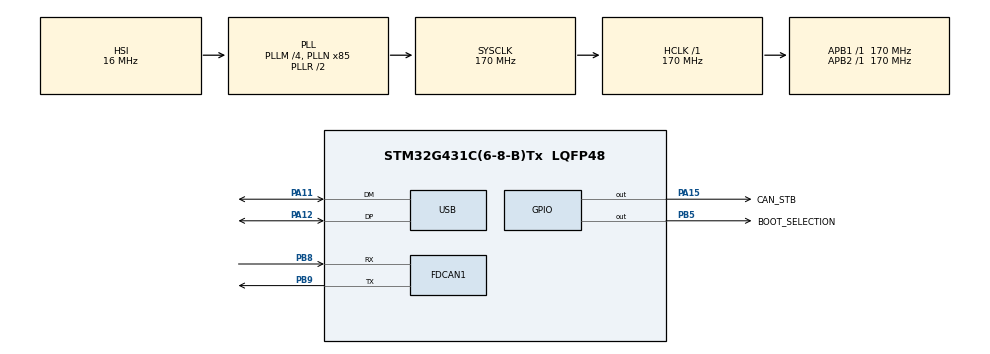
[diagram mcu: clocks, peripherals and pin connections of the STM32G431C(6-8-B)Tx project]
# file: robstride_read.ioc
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FDCAN1.AutoRetransmission=ENABLE
FDCAN1.CalculateBaudRateNominal=999999
FDCAN1.CalculateTimeBitNominal=1000
FDCAN1.CalculateTimeQuantumNominal=5.882352941176471
FDCAN1.NominalPrescaler=1
FDCAN1.NominalSyncJumpWidth=34
FDCAN1.NominalTimeSeg1=135
FDCAN1.NominalTimeSeg2=34
Mcu.Family=STM32G4
Mcu.Name=STM32G431C(6-8-B)Tx
Mcu.Package=LQFP48
NVIC.PriorityGroup=NVIC_PRIORITYGROUP_4
NVIC.USB_LP_IRQn=true\:0\:0\:false\:false\:true\:false\:true\:true
PA11.Mode=Device
PA11.Signal=USB_DM
PA12.Mode=Device
PA12.Signal=USB_DP
PA13.Mode=Serial_Wire
PA13.Signal=SYS_JTMS-SWDIO
PA14.Mode=Serial_Wire
PA14.Signal=SYS_JTCK-SWCLK
PA15.GPIO_Label=CAN_STB
PA15.Signal=GPIO_Output
PB5.GPIO_Label=BOOT_SELECTION
PB5.Signal=GPIO_Output
PB8-BOOT0.Mode=FDCAN_Activate
PB8-BOOT0.Signal=FDCAN1_RX
PB9.Mode=FDCAN_Activate
PB9.Signal=FDCAN1_TX
ProjectManager.HeapSize=0x200
ProjectManager.StackSize=0x400
ProjectManager.TargetToolchain=STM32CubeIDE
RCC.ADC12Freq_Value=170000000
RCC.AHBFreq_Value=170000000
RCC.APB1Freq_Value=170000000
RCC.APB1TimFreq_Value=170000000
RCC.APB2Freq_Value=170000000
RCC.APB2TimFreq_Value=170000000
RCC.CK48CLockSelection=RCC_USBCLKSOURCE_HSI48
RCC.CortexFreq_Value=170000000
RCC.EXTERNAL_CLOCK_VALUE=12288000
RCC.HCLKFreq_Value=170000000
RCC.HSE_VALUE=8000000
RCC.HSI48_VALUE=48000000
RCC.HSI_VALUE=16000000
RCC.LSE_VALUE=32768
RCC.PLLM=RCC_PLLM_DIV4
RCC.PLLN=85
RCC.SYSCLKFreq_VALUE=170000000
RCC.SYSCLKSource=RCC_SYSCLKSOURCE_PLLCLK
RCC.USBFreq_Value=48000000
RCC.VCOOutputFreq_Value=340000000
USB_DEVICE.CLASS_NAME_FS=CDC
USB_DEVICE.VirtualMode=Cdc
USB_DEVICE.VirtualModeFS=Cdc_FS
VP_RCC_VS_USB.Mode=USB_FS
VP_SYS_VS_DBSignals.Mode=DisableDeadBatterySignals
VP_USB_DEVICE_VS_USB_DEVICE_CDC_FS.Mode=CDC_FS
board=custom

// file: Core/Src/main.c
/* USER CODE BEGIN Header */
/**
  ******************************************************************************
  * @file           : main.c
  * @brief          : Main program body
  ******************************************************************************
  * @attention
  *
  * Copyright (c) 2026 STMicroelectronics.
  * All rights reserved.
  *
  * This software is licensed under terms that can be found in the LICENSE file
  * in the root directory of this software component.
  * If no LICENSE file comes with this software, it is provided AS-IS.
  *
  ******************************************************************************
  */
/* USER CODE END Header */
#include "main.h"
#include "usb_device.h"

/* USER CODE BEGIN Includes */
#include <stdio.h>
#include <stdlib.h>
#include "usbd_cdc_if.h"
#include "robstride.h"
/* USER CODE END Includes */

/* USER CODE BEGIN PD */
/* ID-change mode. Leave at 0 for the bus test. To renumber a motor that
 * is ALONE on the bus, set SET_ID_NEW to 3 (or 4), build, flash, run once,
 * then set it back to 0. SET_ID_OLD is the ID the motor has now.         */
#define SET_ID_NEW   0
#define SET_ID_OLD   127

/* Bus capacity test: 4 motors, one request + one reply each, 500 Hz. */
#define N_MOTORS     4
#define CYCLE_US     2000u                          /* 2 ms = 500 Hz      */
#define CYCLE_TICKS  (CYCLE_US * 170u)              /* SYSCLK = 170 MHz   */
#define ALL_REPLIED  ((1u << N_MOTORS) - 1u)

/* Scope pin: PB3 = net Status_to_MPU = H3 pin 1 (H3 pin 3 = GND).
 * HIGH at the start of each cycle, LOW when the last reply arrives.  */
#define TEST_PIN_Port GPIOB
#define TEST_PIN      GPIO_PIN_3
/* USER CODE END PD */

FDCAN_HandleTypeDef hfdcan1;

/* USER CODE BEGIN PV */
static const uint8_t motor_ids[N_MOTORS] = {1, 2, 3, 4};

/* Test results, reset every second when they are printed */
static uint32_t t_next;            /* DWT tick at which the next cycle starts */
static uint32_t n_cycles, n_full, n_tx, n_rx, n_tx_fail, n_missed;
static uint32_t rtt_max, rtt_sum;  /* round trip of a full cycle, in ticks  */
static uint32_t missed_by[N_MOTORS];
/* USER CODE END PV */

void SystemClock_Config(void);
static void MX_GPIO_Init(void);
static void MX_FDCAN1_Init(void);

/* USER CODE BEGIN 0 */
#if SET_ID_NEW != 0   /* these two are only used in ID-change mode */
/* Ask motor 'id' for its angle and wait up to timeout_ms for the answer. */
static bool read_mech_pos(uint8_t id, float *rad, uint32_t timeout_ms)
{
  uint8_t rid;
  uint16_t idx;
  float v;

  if (RS_RequestParam(&hfdcan1, id, RS_PARAM_MECHPOS) != HAL_OK) {
    return false;
  }
  uint32_t t0 = HAL_GetTick();
  while (HAL_GetTick() - t0 <= timeout_ms) {
    if (RS_GetParamReply(&hfdcan1, &rid, &idx, &v) &&
        rid == id && idx == RS_PARAM_MECHPOS) {
      *rad = v;
      return true;
    }
  }
  return false;
}

/* Type 7 "set motor CAN_ID" (manual 4.1.7, printed p.58-59):
 * ID bits 28-24 = 7, bits 23-16 = new ID, bits 15-8 = host ID,
 * bits 7-0 = the motor's current ID. Data bytes are unused (sent as 0). */
static HAL_StatusTypeDef set_can_id(uint8_t old_id, uint8_t new_id)
{
  FDCAN_TxHeaderTypeDef h = {0};
  uint8_t d[8] = {0};
  h.Identifier          = (7u << 24) | ((uint32_t)new_id << 16) |
                          ((uint32_t)RS_HOST_ID << 8) | old_id;
  h.IdType              = FDCAN_EXTENDED_ID;
  h.TxFrameType         = FDCAN_DATA_FRAME;
  h.DataLength          = FDCAN_DLC_BYTES_8;
  h.ErrorStateIndicator = FDCAN_ESI_ACTIVE;
  h.BitRateSwitch       = FDCAN_BRS_OFF;
  h.FDFormat            = FDCAN_CLASSIC_CAN;
  h.TxEventFifoControl  = FDCAN_NO_TX_EVENTS;
  return HAL_FDCAN_AddMessageToTxFifoQ(&hfdcan1, &h, d);
}
#endif

/* Empty the RX FIFO, setting bit i of *got when motor_ids[i] has replied. */
static void poll_replies(uint8_t *got)
{
  uint8_t rid;
  uint16_t idx;
  float v;
  while (RS_GetParamReply(&hfdcan1, &rid, &idx, &v)) {
    for (int i = 0; i < N_MOTORS; i++) {
      if (rid == motor_ids[i]) {
        if ((*got & (1u << i)) == 0) n_rx++;
        *got |= (uint8_t)(1u << i);
      }
    }
  }
}
/* USER CODE END 0 */

int main(void)
{

  /* MCU Configuration--------------------------------------------------------*/

  /* Reset of all peripherals, Initializes the Flash interface and the Systick. */
  HAL_Init();

  /* Configure the system clock */
  SystemClock_Config();

  /* Initialize all configured peripherals */
  MX_GPIO_Init();
  MX_FDCAN1_Init();
  MX_USB_Device_Init();
  /* USER CODE BEGIN 2 */
  /* PB5 LOW enables buffer U6 so the transceiver's RXD reaches PB8.
   * PA15 LOW puts the TCAN1042 in Normal mode (HIGH = Standby).    */
  HAL_GPIO_WritePin(BOOT_SELECTION_GPIO_Port, BOOT_SELECTION_Pin, GPIO_PIN_RESET);
  HAL_GPIO_WritePin(CAN_STB_GPIO_Port, CAN_STB_Pin, GPIO_PIN_RESET);

  /* Put every extended-ID frame in RX FIFO 0; drop standard-ID frames. */
  HAL_FDCAN_ConfigGlobalFilter(&hfdcan1, FDCAN_REJECT, FDCAN_ACCEPT_IN_RX_FIFO0,
                               FDCAN_REJECT_REMOTE, FDCAN_REJECT_REMOTE);
  if (HAL_FDCAN_Start(&hfdcan1) != HAL_OK) {
    Error_Handler();
  }

  /* Give you 3 s to open the serial terminal. */
  HAL_Delay(3000);

#if SET_ID_NEW != 0
  /* ---- ID-change mode: runs once, then reports forever ---- */
  {
    static char m[128];
    float rad;
    HAL_StatusTypeDef st = set_can_id(SET_ID_OLD, SET_ID_NEW);
    HAL_Delay(100);
    while (1) {
      bool at_new = read_mech_pos(SET_ID_NEW, &rad, 10);
      bool at_old = read_mech_pos(SET_ID_OLD, &rad, 10);
      int n = snprintf(m, sizeof m,
                       "Set ID %d -> %d: send %s. ID %d answers: %s. ID %d answers: %s\r\n",
                       SET_ID_OLD, SET_ID_NEW, (st == HAL_OK) ? "ok" : "FAILED",
                       SET_ID_NEW, at_new ? "YES" : "no",
                       SET_ID_OLD, at_old ? "YES" : "no");
      CDC_Transmit_FS((uint8_t *)m, (uint16_t)n);
      HAL_Delay(1000);
    }
  }
#endif

  /* ---- Bus capacity test setup ---- */
  /* PB3 as push-pull output for the scope. Done here, not in CubeMX,
   * so no .ioc change is needed. GPIOB's clock is already on.       */
  GPIO_InitTypeDef g = {0};
  g.Pin   = TEST_PIN;
  g.Mode  = GPIO_MODE_OUTPUT_PP;
  g.Pull  = GPIO_NOPULL;
  g.Speed = GPIO_SPEED_FREQ_LOW;
  HAL_GPIO_Init(TEST_PIN_Port, &g);
  HAL_GPIO_WritePin(TEST_PIN_Port, TEST_PIN, GPIO_PIN_RESET);

  /* DWT cycle counter: counts CPU clocks (170 per microsecond), so it
   * times the 2 ms cycle far more finely than the 1 ms HAL tick.     */
  CoreDebug->DEMCR |= CoreDebug_DEMCR_TRCENA_Msk;
  DWT->CYCCNT = 0;
  DWT->CTRL  |= DWT_CTRL_CYCCNTENA_Msk;
  t_next = DWT->CYCCNT + CYCLE_TICKS;
  /* USER CODE END 2 */

  /* Infinite loop */
  while (1)
  {

    /* USER CODE BEGIN 3 */
    /* Wait for the cycle to start. (int32_t) cast handles counter wrap. */
    while ((int32_t)(DWT->CYCCNT - t_next) < 0) {}
    uint32_t t0 = t_next;
    t_next += CYCLE_TICKS;
    HAL_GPIO_WritePin(TEST_PIN_Port, TEST_PIN, GPIO_PIN_SET);

    /* Send one "read MechPos" request to every motor. The TX FIFO holds
     * only 3 frames, so wait for a free slot (reading replies meanwhile,
     * because the RX FIFO holds only 3 too).                            */
    uint8_t got = 0;
    for (int i = 0; i < N_MOTORS; i++) {
      while (HAL_FDCAN_GetTxFifoFreeLevel(&hfdcan1) == 0 &&
             (int32_t)(DWT->CYCCNT - t_next) < 0) {
        poll_replies(&got);
      }
      if (RS_RequestParam(&hfdcan1, motor_ids[i], RS_PARAM_MECHPOS) == HAL_OK) {
        n_tx++;
      } else {
        n_tx_fail++;
      }
    }

    /* Wait for all replies, but never past the start of the next cycle. */
    while (got != ALL_REPLIED && (int32_t)(DWT->CYCCNT - t_next) < 0) {
      poll_replies(&got);
    }
    uint32_t rtt = DWT->CYCCNT - t0;
    HAL_GPIO_WritePin(TEST_PIN_Port, TEST_PIN, GPIO_PIN_RESET);

    n_cycles++;
    if (got == ALL_REPLIED) {
      n_full++;
      rtt_sum += rtt;
      if (rtt > rtt_max) rtt_max = rtt;
    }
    for (int i = 0; i < N_MOTORS; i++) {
      if ((got & (1u << i)) == 0) {
        n_missed++;
        missed_by[i]++;
      }
    }

    /* Once per second (500 cycles), print the results and reset them. */
    if (n_cycles >= 1000000u / CYCLE_US) {
      static char m[256];
      FDCAN_ErrorCountersTypeDef ec;
      FDCAN_ProtocolStatusTypeDef ps;
      HAL_FDCAN_GetErrorCounters(&hfdcan1, &ec);
      HAL_FDCAN_GetProtocolStatus(&hfdcan1, &ps);
      int n = snprintf(m, sizeof m,
                       "cyc %lu tx %lu rx %lu txfail %lu missed %lu (by ID 1-4: %lu %lu %lu %lu) "
                       "rtt avg %lu us max %lu us | TEC %lu REC %lu LEC %lu busoff %lu\r\n",
                       (unsigned long)n_cycles, (unsigned long)n_tx, (unsigned long)n_rx,
                       (unsigned long)n_tx_fail, (unsigned long)n_missed,
                       (unsigned long)missed_by[0], (unsigned long)missed_by[1],
                       (unsigned long)missed_by[2], (unsigned long)missed_by[3],
                       (unsigned long)(n_full ? rtt_sum / n_full / 170u : 0),
                       (unsigned long)(rtt_max / 170u),
                       (unsigned long)ec.TxErrorCnt, (unsigned long)ec.RxErrorCnt,
                       (unsigned long)ps.LastErrorCode, (unsigned long)ps.BusOff);
      CDC_Transmit_FS((uint8_t *)m, (uint16_t)n);
      n_cycles = n_full = n_tx = n_rx = n_tx_fail = n_missed = 0;
      rtt_max = rtt_sum = 0;
      for (int i = 0; i < N_MOTORS; i++) missed_by[i] = 0;
    }
  }
  /* USER CODE END 3 */
}

void SystemClock_Config(void)
{
  RCC_OscInitTypeDef RCC_OscInitStruct = {0};
  RCC_ClkInitTypeDef RCC_ClkInitStruct = {0};
  RCC_CRSInitTypeDef pInit = {0};

  /** Configure the main internal regulator output voltage
  */
  HAL_PWREx_ControlVoltageScaling(PWR_REGULATOR_VOLTAGE_SCALE1_BOOST);

  /** Initializes the RCC Oscillators according to the specified parameters
  * in the RCC_OscInitTypeDef structure.
  */
  RCC_OscInitStruct.OscillatorType = RCC_OSCILLATORTYPE_HSI|RCC_OSCILLATORTYPE_HSI48;
  RCC_OscInitStruct.HSIState = RCC_HSI_ON;
  RCC_OscInitStruct.HSICalibrationValue = RCC_HSICALIBRATION_DEFAULT;
  RCC_OscInitStruct.HSI48State = RCC_HSI48_ON;
  RCC_OscInitStruct.PLL.PLLState = RCC_PLL_ON;
  RCC_OscInitStruct.PLL.PLLSource = RCC_PLLSOURCE_HSI;
  RCC_OscInitStruct.PLL.PLLM = RCC_PLLM_DIV4;
  RCC_OscInitStruct.PLL.PLLN = 85;
  RCC_OscInitStruct.PLL.PLLP = RCC_PLLP_DIV2;
  RCC_OscInitStruct.PLL.PLLQ = RCC_PLLQ_DIV2;
  RCC_OscInitStruct.PLL.PLLR = RCC_PLLR_DIV2;
  if (HAL_RCC_OscConfig(&RCC_OscInitStruct) != HAL_OK)
  {
    Error_Handler();
  }

  /** Initializes the CPU, AHB and APB buses clocks
  */
  RCC_ClkInitStruct.ClockType = RCC_CLOCKTYPE_HCLK|RCC_CLOCKTYPE_SYSCLK
                              |RCC_CLOCKTYPE_PCLK1|RCC_CLOCKTYPE_PCLK2;
  RCC_ClkInitStruct.SYSCLKSource = RCC_SYSCLKSOURCE_PLLCLK;
  RCC_ClkInitStruct.AHBCLKDivider = RCC_SYSCLK_DIV1;
  RCC_ClkInitStruct.APB1CLKDivider = RCC_HCLK_DIV1;
  RCC_ClkInitStruct.APB2CLKDivider = RCC_HCLK_DIV1;

  if (HAL_RCC_ClockConfig(&RCC_ClkInitStruct, FLASH_LATENCY_4) != HAL_OK)
  {
    Error_Handler();
  }

  /** Enable the SYSCFG APB clock
  */
  __HAL_RCC_CRS_CLK_ENABLE();

  /** Configures CRS
  */
  pInit.Prescaler = RCC_CRS_SYNC_DIV1;
  pInit.Source = RCC_CRS_SYNC_SOURCE_USB;
  pInit.Polarity = RCC_CRS_SYNC_POLARITY_RISING;
  pInit.ReloadValue = __HAL_RCC_CRS_RELOADVALUE_CALCULATE(48000000,1000);
  pInit.ErrorLimitValue = 34;
  pInit.HSI48CalibrationValue = 32;

  HAL_RCCEx_CRSConfig(&pInit);
}

static void MX_FDCAN1_Init(void)
{

  hfdcan1.Instance = FDCAN1;
  hfdcan1.Init.ClockDivider = FDCAN_CLOCK_DIV1;
  hfdcan1.Init.FrameFormat = FDCAN_FRAME_CLASSIC;
  hfdcan1.Init.Mode = FDCAN_MODE_NORMAL;
  hfdcan1.Init.AutoRetransmission = ENABLE;
  hfdcan1.Init.TransmitPause = DISABLE;
  hfdcan1.Init.ProtocolException = DISABLE;
  hfdcan1.Init.NominalPrescaler = 1;
  hfdcan1.Init.NominalSyncJumpWidth = 34;
  hfdcan1.Init.NominalTimeSeg1 = 135;
  hfdcan1.Init.NominalTimeSeg2 = 34;
  hfdcan1.Init.DataPrescaler = 1;
  hfdcan1.Init.DataSyncJumpWidth = 1;
  hfdcan1.Init.DataTimeSeg1 = 1;
  hfdcan1.Init.DataTimeSeg2 = 1;
  hfdcan1.Init.StdFiltersNbr = 0;
  hfdcan1.Init.ExtFiltersNbr = 0;
  hfdcan1.Init.TxFifoQueueMode = FDCAN_TX_FIFO_OPERATION;
  if (HAL_FDCAN_Init(&hfdcan1) != HAL_OK)
  {
    Error_Handler();
  }

}

static void MX_GPIO_Init(void)
{
  GPIO_InitTypeDef GPIO_InitStruct = {0};

  /* GPIO Ports Clock Enable */
  __HAL_RCC_GPIOA_CLK_ENABLE();
  __HAL_RCC_GPIOB_CLK_ENABLE();

  /*Configure GPIO pin Output Level */
  HAL_GPIO_WritePin(CAN_STB_GPIO_Port, CAN_STB_Pin, GPIO_PIN_RESET);

  /*Configure GPIO pin Output Level */
  HAL_GPIO_WritePin(BOOT_SELECTION_GPIO_Port, BOOT_SELECTION_Pin, GPIO_PIN_RESET);

  /*Configure GPIO pin : CAN_STB_Pin */
  GPIO_InitStruct.Pin = CAN_STB_Pin;
  GPIO_InitStruct.Mode = GPIO_MODE_OUTPUT_PP;
  GPIO_InitStruct.Pull = GPIO_NOPULL;
  GPIO_InitStruct.Speed = GPIO_SPEED_FREQ_LOW;
  HAL_GPIO_Init(CAN_STB_GPIO_Port, &GPIO_InitStruct);

  /*Configure GPIO pin : BOOT_SELECTION_Pin */
  GPIO_InitStruct.Pin = BOOT_SELECTION_Pin;
  GPIO_InitStruct.Mode = GPIO_MODE_OUTPUT_PP;
  GPIO_InitStruct.Pull = GPIO_NOPULL;
  GPIO_InitStruct.Speed = GPIO_SPEED_FREQ_LOW;
  HAL_GPIO_Init(BOOT_SELECTION_GPIO_Port, &GPIO_InitStruct);

}

void Error_Handler(void)
{
  __disable_irq();
  while (1)
  {
  }
}
